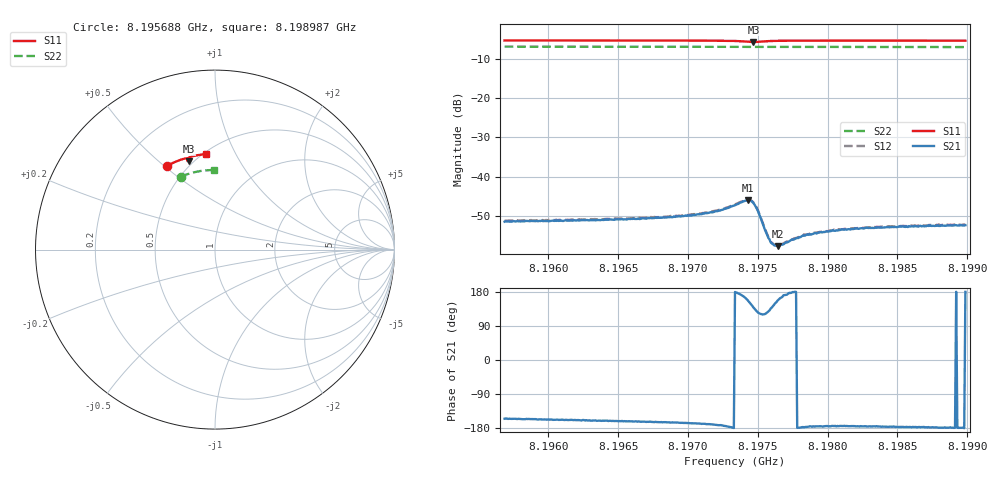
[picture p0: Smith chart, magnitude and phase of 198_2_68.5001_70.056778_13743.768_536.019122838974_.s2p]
#  HZ  S  RI  R  50.00
! Rohde & Schwarz Vector Network Analyzer
! Rohde-Schwarz,ZNB20-2Port,1311601062101988,3.16
! Created: UTC 3/20/2024, 5:12:38 PM
! freq[Hz]  re:S11  im:S11  re:S21  im:S21  re:S12  im:S12  re:S22  im:S22
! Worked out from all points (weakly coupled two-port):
!   401 points, 8.195688 GHz to 8.198987 GHz, reference 50 ohm
!   highest |S21| = -46.04 dB at 8.197428 GHz (marker M1); lowest = -57.7 dB at 8.197643 GHz (marker M2)
!   lowest |S11| = -5.8 dB at 8.197469 GHz (marker M3), VSWR 3.11, Z = 23.7 + j31.6 ohm
!   |S11| at or under -10 dB: nowhere
!   |S22| runs from -7.1 to -7.0 dB; largest |S21 - S12| = 0.00025
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8.1956878e9  -0.2672 0.4661  -0.00242 -0.00113  -0.00255 -0.00106  -0.1886 0.4069
8.1962404e9  -0.2321 0.484  -0.00263 -0.000984  -0.00271 -0.000916  -0.1595 0.4182
8.196793e9  -0.195 0.4991  -0.00288 -0.000826  -0.00296 -0.00075  -0.1299 0.4276
8.1969415e9  -0.1843 0.5029  -0.00305 -0.000775  -0.0031 -0.000686  -0.1217 0.4294
8.1971312e9  -0.1699 0.5069  -0.00337 -0.000642  -0.00344 -0.000532  -0.1113 0.432
8.1972301e9  -0.1611 0.5085  -0.00366 -0.000525  -0.00377 -0.000365  -0.1059 0.4332
8.1973373e9  -0.1499 0.5078  -0.00433 4.67e-05  -0.00441 0.000227  -0.0996 0.4342
8.1974281e9  -0.1415 0.4982  -0.00461 0.00189  -0.00464 0.00214  -0.0947 0.435
8.1974528e9  -0.143 0.4939  -0.0041 0.00267  -0.00406 0.0029  -0.0936 0.4353
8.1974693e9  -0.1457 0.492  -0.00345 0.00304  -0.00342 0.00322  -0.0927 0.4352
8.1974858e9  -0.149 0.4916  -0.00276 0.0031  -0.00271 0.00328  -0.0918 0.4354
8.1975023e9  -0.152 0.4928  -0.00209 0.00296  -0.002 0.00312  -0.091 0.4355
8.19756e9  -0.1548 0.5019  -0.00107 0.00163  -0.001 0.00173  -0.0881 0.4365
8.1975848e9  -0.1534 0.5052  -0.00104 0.0012  -0.00101 0.00129  -0.0867 0.4368
8.1976095e9  -0.1516 0.5078  -0.00109 0.000849  -0.00109 0.000889  -0.0852 0.4371
8.1976425e9  -0.1485 0.5104  -0.0012 0.000512  -0.00119 0.00059  -0.0833 0.4374
8.1976673e9  -0.1463 0.5119  -0.00131 0.000359  -0.00131 0.000435  -0.082 0.4376
8.1978322e9  -0.1324 0.5179  -0.00177 -7.21e-05  -0.00185 -2.62e-05  -0.0727 0.4391
8.1978899e9  -0.1278 0.5192  -0.00186 -0.000117  -0.00187 -7.02e-05  -0.0695 0.4395
8.1981126e9  -0.1113 0.5233  -0.00211 -0.000214  -0.00214 -0.000133  -0.057 0.4409
8.1984425e9  -0.0874 0.5275  -0.00225 -0.000155  -0.00234 -5.84e-05  -0.0383 0.4423
8.1989869e9  -0.0486 0.532  -0.00241 9.4e-06  -0.00246 0.000103  -0.00731 0.4428
